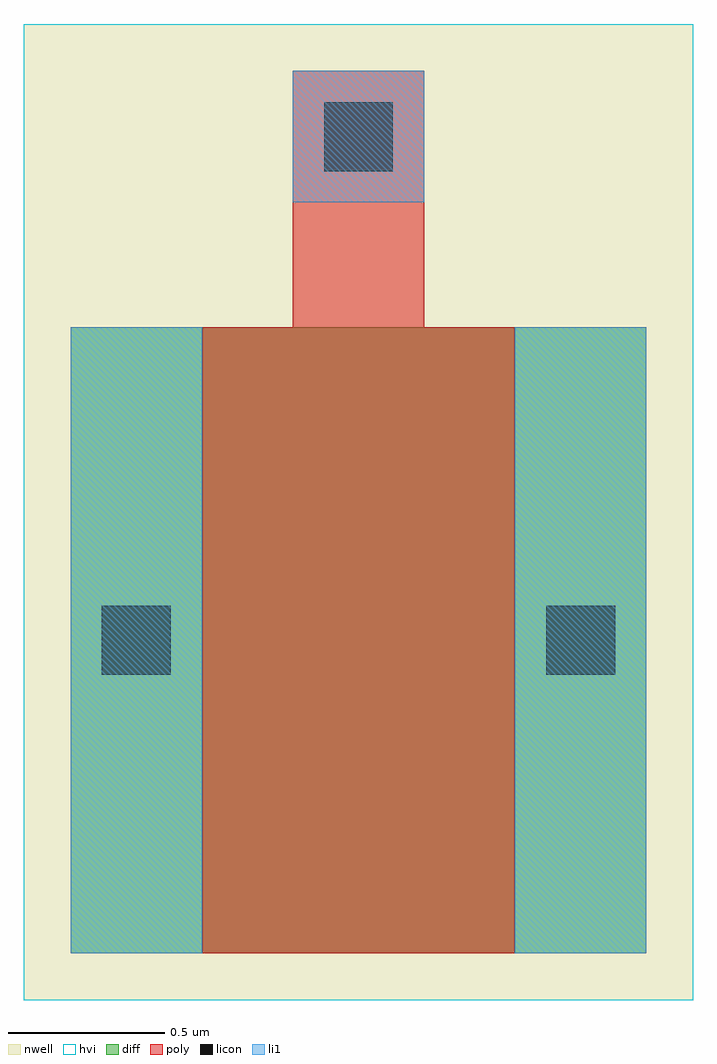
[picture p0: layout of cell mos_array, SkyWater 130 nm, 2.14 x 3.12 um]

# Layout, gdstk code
import gdstk
lib = gdstk.Library(unit=1e-6, precision=1e-09)
def R(c, l, rs):  # rectangles x0, y0, x1, y1
    for r in rs: c.add(gdstk.rectangle(r[:2], r[2:], *l))
nwell = (64, 20)
diff = (65, 20)
poly = (66, 20)
licon = (66, 44)
li1 = (67, 20)
hvi = (75, 20)

mos_array = lib.new_cell('mos_array')
R(mos_array, nwell, [(-0.15,-0.15,1.99,2.97)])
R(mos_array, diff, [(0,0,1.84,2)])
R(mos_array, poly, [(0.42,0,1.42,2), (0.71,2,1.13,2.82)])
R(mos_array, licon, [(0.1,0.89,0.32,1.11), (1.52,0.89,1.74,1.11), (0.81,2.5,1.03,2.72)])
R(mos_array, li1, [(0,0,0.42,2), (1.42,0,1.84,2), (0.71,2.4,1.13,2.82)])
R(mos_array, hvi, [(-0.15,-0.15,1.99,2.97)])

lib.write_gds('mos_array.gds')
